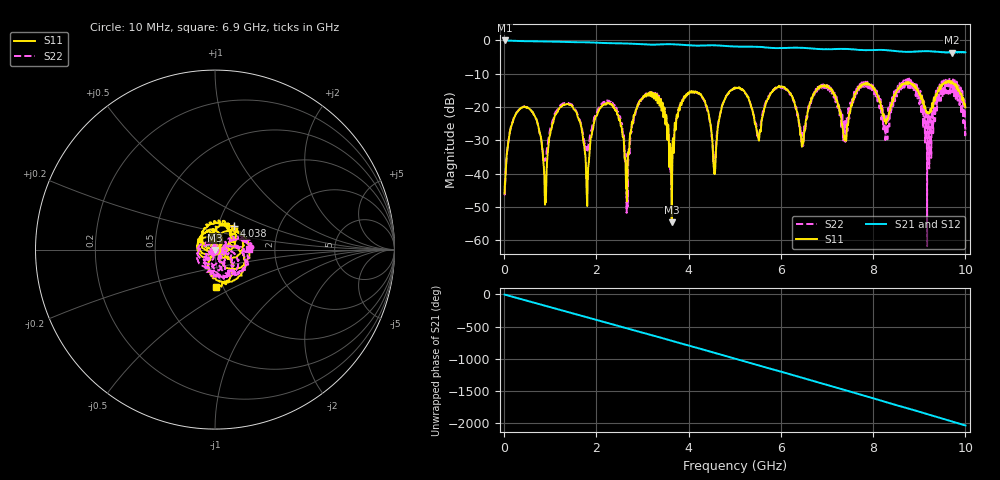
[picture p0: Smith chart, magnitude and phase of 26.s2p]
!Keysight Technologies,E5080B,MY59205177,A.15.75.32
!Date: Friday, February 23, 2024 03:27:51
!Correction: S11(Cdelta 2-Port  )
!S21(Cdelta 2-Port  )
!S12(Cdelta 2-Port  )
!S22(Cdelta 2-Port  )
!S2P File: Measurements: S11, S21, S12, S22:
# Hz S  dB  R 50
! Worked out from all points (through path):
!   10001 points, 10 MHz to 10 GHz, reference 50 ohm
!   highest |S21| = -0.02 dB at 10 MHz (marker M1); lowest = -3.7 dB at 9.701 GHz (marker M2)
!   group delay of S21, straight-line fit = 565 ps
!   lowest |S11| = -54.6 dB at 3.633 GHz (marker M3), VSWR 1.00, Z = 50 - j0.185 ohm
!   |S11| at or under -10 dB: start of sweep to end of sweep
!   |S22| runs from -61.8 to -11.2 dB; largest |S21 - S12| = 0.0016
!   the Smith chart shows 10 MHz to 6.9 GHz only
!   S11 on the Smith chart (normalised r, x): 10 MHz: 1.01, -0.00; 4.038 GHz: 1.19, +0.32; 6.9 GHz: 0.93, -0.41
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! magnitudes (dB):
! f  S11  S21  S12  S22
! 10 MHz  -46.0  0.0  0.0  -46.1
! 374.6 MHz  -20.2  -0.2  -0.2  -20.1
! 888.1 MHz  -48.8  -0.3  -0.3  -36.0
! 1.183 GHz  -20.7  -0.4  -0.4  -20.1
! 1.675 GHz  -26.1  -0.5  -0.5  -25.4
! 1.804 GHz  -48.3  -0.6  -0.6  -32.6
! 2.35 GHz  -19.3  -0.9  -0.9  -18.8
! 2.664 GHz  -48.3  -0.9  -0.9  -42.4
! 2.891 GHz  -19.4  -1.1  -1.1  -20.2
! 3.341 GHz  -17.5  -1.2  -1.2  -17.8
! 3.633 GHz  -54.6  -1.1  -1.1  -44.0
! 4.038 GHz  -15.5  -1.5  -1.5  -15.6
! 4.561 GHz  -39.9  -1.5  -1.5  -39.1
! 5.005 GHz  -14.2  -1.8  -1.8  -14.5
! 5.516 GHz  -29.8  -1.9  -1.9  -28.8
! 6.67 GHz  -17.3  -2.4  -2.4  -16.9
! 6.9 GHz  -13.6  -2.6  -2.6  -14.4
! 7.383 GHz  -30.0  -2.6  -2.6  -25.4
! 7.795 GHz  -13.1  -2.9  -2.9  -12.7
! 8.336 GHz  -22.6  -3.0  -3.0  -20.6
! 9.701 GHz  -12.3  -3.7  -3.7  -13.9
! 10 GHz  -20.1  -3.6  -3.6  -26.1
